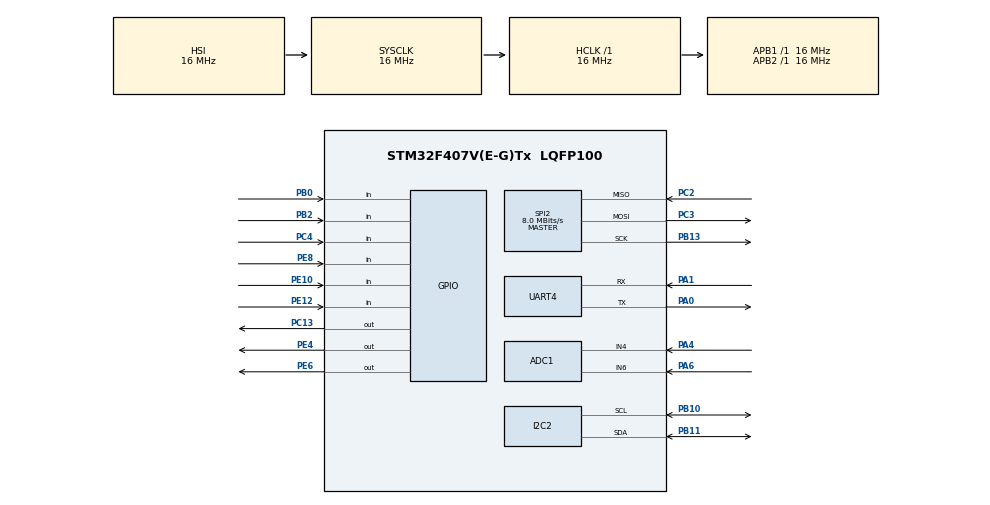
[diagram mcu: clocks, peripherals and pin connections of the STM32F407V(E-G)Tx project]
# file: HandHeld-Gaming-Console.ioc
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ADC1.Channel-0\#ChannelRegularConversion=ADC_CHANNEL_4
ADC1.NbrOfConversionFlag=1
ADC1.Rank-0\#ChannelRegularConversion=1
ADC1.SamplingTime-0\#ChannelRegularConversion=ADC_SAMPLETIME_3CYCLES
ADC1.master=1
Mcu.Family=STM32F4
Mcu.Name=STM32F407V(E-G)Tx
Mcu.Package=LQFP100
NVIC.PriorityGroup=NVIC_PRIORITYGROUP_4
PA0-WKUP.Mode=Asynchronous
PA0-WKUP.Signal=UART4_TX
PA1.Mode=Asynchronous
PA1.Signal=UART4_RX
PA4.Signal=ADCx_IN4
PA6.Signal=ADCx_IN6
PB0.Signal=GPIO_Input
PB10.Mode=I2C
PB10.Signal=I2C2_SCL
PB11.Mode=I2C
PB11.Signal=I2C2_SDA
PB13.Mode=Full_Duplex_Master
PB13.Signal=SPI2_SCK
PB2.Signal=GPIO_Input
PC13-ANTI_TAMP.Signal=GPIO_Output
PC2.Mode=Full_Duplex_Master
PC2.Signal=SPI2_MISO
PC3.Mode=Full_Duplex_Master
PC3.Signal=SPI2_MOSI
PC4.Signal=GPIO_Input
PE10.Signal=GPIO_Input
PE12.Signal=GPIO_Input
PE4.Signal=GPIO_Output
PE6.Signal=GPIO_Output
PE8.Signal=GPIO_Input
PH0-OSC_IN.Mode=HSE-External-Oscillator
PH0-OSC_IN.Signal=RCC_OSC_IN
PH1-OSC_OUT.Mode=HSE-External-Oscillator
PH1-OSC_OUT.Signal=RCC_OSC_OUT
ProjectManager.HeapSize=0x200
ProjectManager.StackSize=0x400
ProjectManager.TargetToolchain=STM32CubeIDE
RCC.AHBFreq_Value=16000000
RCC.APB1Freq_Value=16000000
RCC.APB2Freq_Value=16000000
RCC.CortexFreq_Value=16000000
RCC.HSE_VALUE=25000000
RCC.HSI_VALUE=16000000
RCC.LSE_VALUE=32768
RCC.SYSCLKFreq_VALUE=16000000
RCC.VCOOutputFreq_Value=192000000
SH.ADCx_IN4.0=ADC1_IN4,IN4
SH.ADCx_IN6.0=ADC1_IN6,IN6
SPI2.CalculateBaudRate=8.0 MBits/s
SPI2.Direction=SPI_DIRECTION_2LINES
SPI2.Mode=SPI_MODE_MASTER
SPI2.VirtualType=VM_MASTER
UART4.VirtualMode=Asynchronous
board=custom

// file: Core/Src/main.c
/* USER CODE BEGIN Header */
/**
  ******************************************************************************
  * @file           : main.c
  * @brief          : Main program body
  ******************************************************************************
  * @attention
  *
  * Copyright (c) 2025 STMicroelectronics.
  * All rights reserved.
  *
  * This software is licensed under terms that can be found in the LICENSE file
  * in the root directory of this software component.
  * If no LICENSE file comes with this software, it is provided AS-IS.
  *
  ******************************************************************************
  */
/* USER CODE END Header */
#include "main.h"
#include <stdbool.h>
#include <string.h>
#include "snake.h"
#include "pingpong.h"
#include "ili9341.h"
#include "fonts.h"
#include "testimg.h"
#include "mpu6050.h"

/* USER CODE BEGIN PD */
#define STATE_INTRO 0
#define STATE_MENU 1
#define STATE_GAME_SNAKE 2
#define STATE_GAME_PONG 3
#define STATE_GAME_OVER 4
#define MPU_ACCEL_X_UP_THRESHOLD 2500
#define MPU_ACCEL_X_DOWN_THRESHOLD 1500
#define MPU_ACCEL_Y_LEFT_THRESHOLD 1500
#define MPU_ACCEL_Y_RIGHT_THRESHOLD 2500
#define MPU_LED_PORT GPIOE
#define MPU_LED_PIN GPIO_PIN_2
#define JOYSTICK_X_ADC_CHANNEL ADC_CHANNEL_4
#define JOYSTICK_Y_ADC_CHANNEL ADC_CHANNEL_6
#define JOYSTICK_BUTTON_PORT GPIOC
#define JOYSTICK_BUTTON_PIN GPIO_PIN_4
#define RESET_BUTTON_PORT GPIOB
#define RESET_BUTTON_PIN GPIO_PIN_0
#define JOYSTICK_THRESHOLD 3500

/* USER CODE END PD */
volatile int currentState = STATE_INTRO;
volatile int menuSelection = 0; // 0 for Snake, 1 for Ping Pong
volatile bool isMpuControl = false;
uint32_t lastButtonPressTime = 0;
const uint32_t buttonDebounceDelay = 200;
volatile int mpu_x, mpu_y, mpu_z;
volatile bool first_snake_dir = true;

ADC_HandleTypeDef hadc1;

I2C_HandleTypeDef hi2c2;

SPI_HandleTypeDef hspi2;

UART_HandleTypeDef huart4;

void SystemClock_Config(void);
static void MX_GPIO_Init(void);
static void MX_ADC1_Init(void);
static void MX_I2C2_Init(void);
static void MX_SPI2_Init(void);
static void MX_UART4_Init(void);
/* USER CODE BEGIN PFP */
uint16_t getADC(uint32_t channel);
bool isButtonHeld(GPIO_TypeDef *port, uint16_t pin);
void handleInput(void);
void drawIntroScreen(void);
void drawMenuScreen(void);
void drawGameOverScreen(void);
void runSnakeGame(void);
void runPingPongGame(void);

/* USER CODE END PFP */

int main(void)
{

  /* MCU Configuration--------------------------------------------------------*/

  /* Reset of all peripherals, Initializes the Flash interface and the Systick. */
  HAL_Init();

  /* Configure the system clock */
  SystemClock_Config();

  /* Initialize all configured peripherals */
  MX_GPIO_Init();
  MX_ADC1_Init();
  MX_I2C2_Init();
  MX_SPI2_Init();
  MX_UART4_Init();
  /* USER CODE BEGIN 2 */
  ILI9341_Init();
  MPU6050_Init();
  drawIntroScreen();

  /* USER CODE END 2 */

  /* Infinite loop */
  /* USER CODE BEGIN WHILE */
  while (1)
  {
	  handleInput();
    /* USER CODE END WHILE */
	  switch (currentState) {
	              case STATE_MENU:
	                  drawMenuScreen();
	                  HAL_Delay(500);
	                  break;
	              case STATE_GAME_SNAKE:
	                  runSnakeGame();
	                  break;
	              case STATE_GAME_PONG:
	                  runPingPongGame();
	                  break;
	              case STATE_GAME_OVER:
	                  drawGameOverScreen();
	                  break;
	              default:
	                  break;
	          }

  }
}
void drawIntroScreen(void) {
    ILI9341_FillScreen(ILI9341_BLACK);
    ILI9341_DrawImage(128, 40, 64, 64, intro);
    char temp_msg[] = "HANDHELD-CONSOLE";
    ILI9341_WriteString(32, 204,temp_msg, Font_16x26, ILI9341_WHITE, ILI9341_BLACK);
    HAL_Delay(2000);
    currentState = STATE_MENU;
}
void drawMenuScreen(void) {
    ILI9341_FillRectangle(30,40,260,200,ILI9341_BLACK);
    char temp_msg[] = "SELECT GAME";
    ILI9341_WriteString(72, 10, temp_msg, Font_16x26, ILI9341_WHITE, ILI9341_BLACK);

    if (menuSelection == 0) {
        ILI9341_DrawImage(80, 56, 160, 40, menu1_2); // Highlighted Snake
        ILI9341_DrawImage(80, 116, 160, 40, menu2_1); // Unhighlighted Pong
    } else {
        ILI9341_DrawImage(80, 56, 160, 40, menu1_1); // Unhighlighted Snake
        ILI9341_DrawImage(80, 116, 160, 40, menu2_2); // Highlighted Pong
    }
}
void drawGameOverScreen(void) {
    ILI9341_FillScreen(ILI9341_BLACK);
    char temp_msg1[] = "Game Over";
    char temp_msg2[] = "Press Retry";
    ILI9341_WriteString(ILI9341_WIDTH / 2 - 50, ILI9341_HEIGHT / 2, temp_msg1, Font_16x26, ILI9341_RED, ILI9341_BLACK);
    ILI9341_WriteString(ILI9341_WIDTH / 2 - 80, ILI9341_HEIGHT / 2 + 30, temp_msg2, Font_7x10, ILI9341_WHITE, ILI9341_BLACK);
    if (HAL_GPIO_ReadPin(GPIOB,GPIO_PIN_0)==GPIO_PIN_RESET){
    	currentState = STATE_MENU;
    }
}
void handleInput(void) {
    //bool selectButtonPressed = (HAL_GPIO_ReadPin(JOYSTICK_BUTTON_PORT, JOYSTICK_BUTTON_PIN) == GPIO_PIN_SET);

    if ((HAL_GPIO_ReadPin(GPIOC , GPIO_PIN_4)==GPIO_PIN_RESET) ) {
        if (currentState == STATE_MENU) {
            if (menuSelection == 0) {
            	 ILI9341_FillScreen(ILI9341_BLACK);
                 ILI9341_DrawImage(40,0,240,240,snake_intro);
                 ILI9341_FillScreen(ILI9341_BLACK);
                 ILI9341_DrawImage(0,0,320,35,bg_final_top);
                 ILI9341_DrawImage(0,205,320,35,bg_final_bottom);
                 ILI9341_DrawImage(0,35,47,170,bg_final_left);
                 ILI9341_DrawImage(274,35,46,170,bg_final_right);
                currentState = STATE_GAME_SNAKE;
                SNAKE_Init();
            } else if (menuSelection == 1) {
                currentState = STATE_GAME_PONG;
                ILI9341_FillScreen(ILI9341_BLACK);
                PingPong_Init();
            }
        } else if (currentState == STATE_GAME_OVER) {
            currentState = STATE_MENU;
            drawMenuScreen();
        } else {
            isMpuControl = !isMpuControl;
            if (isMpuControl) {
                HAL_GPIO_WritePin(MPU_LED_PORT, MPU_LED_PIN, GPIO_PIN_SET);
            } else {
                HAL_GPIO_WritePin(MPU_LED_PORT, MPU_LED_PIN, GPIO_PIN_RESET);
            }
        }
    }

    if (currentState == STATE_MENU) {
        uint16_t xVal = getADC(JOYSTICK_X_ADC_CHANNEL);
        if (xVal < 4095 - JOYSTICK_THRESHOLD) { // Joystick UP
            menuSelection = 0;
        } else if (xVal > JOYSTICK_THRESHOLD) { // Joystick DOWN
            menuSelection = 1;
        }
    }
}
bool isButtonHeld(GPIO_TypeDef *port, uint16_t pin) {
    return (HAL_GPIO_ReadPin(port, pin) == GPIO_PIN_RESET);
}
void runSnakeGame(void) {
    if (SNAKE_getOver()) {
    	ILI9341_FillScreen(ILI9341_BLACK);
    	ILI9341_DrawImage(40, 0, 240, 240, snake_outro);
    	HAL_Delay(500);
        if(isButtonHeld(JOYSTICK_BUTTON_PORT,JOYSTICK_BUTTON_PIN)) currentState = STATE_MENU;
        return;
    }

    int direction ;
    if (first_snake_dir){
    	direction = 1;
    	first_snake_dir = false;
    }
    if (isMpuControl) {
        MPU6050_Read_Accel(&mpu_x, &mpu_y, &mpu_z);
        if (mpu_x > MPU_ACCEL_X_UP_THRESHOLD) direction = 2; // down
        if (mpu_x < MPU_ACCEL_X_DOWN_THRESHOLD) direction = 4; // up
        if (mpu_y > MPU_ACCEL_Y_RIGHT_THRESHOLD) direction = 3; // left
        if (mpu_y < MPU_ACCEL_Y_LEFT_THRESHOLD) direction = 1; // right
    } else {
        uint16_t xVal = getADC(JOYSTICK_X_ADC_CHANNEL);
        uint16_t yVal = getADC(JOYSTICK_Y_ADC_CHANNEL);

        if (xVal > JOYSTICK_THRESHOLD) direction = 2;
        if (xVal < 4095 - JOYSTICK_THRESHOLD) direction = 4;
        if (yVal > JOYSTICK_THRESHOLD) direction = 3;
        if (yVal < 4095 - JOYSTICK_THRESHOLD) direction = 1;
    }

    if (direction != 0) {
        SNAKE_ChangeDirection(direction);
    }

    SNAKE_updateGame();
    SNAKE_drawGame();
    HAL_Delay(100);
}
void runPingPongGame(void) {
    if (PingPong_IsGameOver()) {
        currentState = STATE_GAME_OVER;
        return;
    }

    bool upPressed = false;
    bool downPressed = false;

    if (isMpuControl) {
        MPU6050_Read_Accel(&mpu_x, &mpu_y, &mpu_z);
        if (mpu_x > MPU_ACCEL_X_UP_THRESHOLD) downPressed = true;
        if (mpu_x < MPU_ACCEL_X_DOWN_THRESHOLD) upPressed = true;
    } else {
        uint16_t xVal = getADC(JOYSTICK_X_ADC_CHANNEL);
        if (xVal > JOYSTICK_THRESHOLD) downPressed = true;
        if (xVal < 4095 - JOYSTICK_THRESHOLD) upPressed = true;
    }

    PingPong_Update(upPressed, downPressed);
    PingPong_Draw();
    HAL_Delay(20);
}

uint16_t getADC(uint32_t channel){
    ADC_ChannelConfTypeDef adc_confg = {0};
    adc_confg.Channel = channel;
    adc_confg.Rank = 1;
    adc_confg.SamplingTime = ADC_SAMPLETIME_56CYCLES;
    HAL_ADC_ConfigChannel(&hadc1,&adc_confg);
    HAL_ADC_Start(&hadc1);
    HAL_ADC_PollForConversion(&hadc1 , HAL_MAX_DELAY);
    uint16_t val = HAL_ADC_GetValue(&hadc1);
    HAL_ADC_Stop(&hadc1);
    return val;
}

void SystemClock_Config(void)
{
  RCC_OscInitTypeDef RCC_OscInitStruct = {0};
  RCC_ClkInitTypeDef RCC_ClkInitStruct = {0};

  /** Configure the main internal regulator output voltage
  */
  __HAL_RCC_PWR_CLK_ENABLE();
  __HAL_PWR_VOLTAGESCALING_CONFIG(PWR_REGULATOR_VOLTAGE_SCALE1);

  /** Initializes the RCC Oscillators according to the specified parameters
  * in the RCC_OscInitTypeDef structure.
  */
  RCC_OscInitStruct.OscillatorType = RCC_OSCILLATORTYPE_HSI;
  RCC_OscInitStruct.HSIState = RCC_HSI_ON;
  RCC_OscInitStruct.HSICalibrationValue = RCC_HSICALIBRATION_DEFAULT;
  RCC_OscInitStruct.PLL.PLLState = RCC_PLL_NONE;
  if (HAL_RCC_OscConfig(&RCC_OscInitStruct) != HAL_OK)
  {
    Error_Handler();
  }

  /** Initializes the CPU, AHB and APB buses clocks
  */
  RCC_ClkInitStruct.ClockType = RCC_CLOCKTYPE_HCLK|RCC_CLOCKTYPE_SYSCLK
                              |RCC_CLOCKTYPE_PCLK1|RCC_CLOCKTYPE_PCLK2;
  RCC_ClkInitStruct.SYSCLKSource = RCC_SYSCLKSOURCE_HSI;
  RCC_ClkInitStruct.AHBCLKDivider = RCC_SYSCLK_DIV1;
  RCC_ClkInitStruct.APB1CLKDivider = RCC_HCLK_DIV1;
  RCC_ClkInitStruct.APB2CLKDivider = RCC_HCLK_DIV1;

  if (HAL_RCC_ClockConfig(&RCC_ClkInitStruct, FLASH_LATENCY_0) != HAL_OK)
  {
    Error_Handler();
  }
}

static void MX_ADC1_Init(void)
{

  ADC_ChannelConfTypeDef sConfig = {0};

  /** Configure the global features of the ADC (Clock, Resolution, Data Alignment and number of conversion)
  */
  hadc1.Instance = ADC1;
  hadc1.Init.ClockPrescaler = ADC_CLOCK_SYNC_PCLK_DIV2;
  hadc1.Init.Resolution = ADC_RESOLUTION_12B;
  hadc1.Init.ScanConvMode = DISABLE;
  hadc1.Init.ContinuousConvMode = DISABLE;
  hadc1.Init.DiscontinuousConvMode = DISABLE;
  hadc1.Init.ExternalTrigConvEdge = ADC_EXTERNALTRIGCONVEDGE_NONE;
  hadc1.Init.ExternalTrigConv = ADC_SOFTWARE_START;
  hadc1.Init.DataAlign = ADC_DATAALIGN_RIGHT;
  hadc1.Init.NbrOfConversion = 1;
  hadc1.Init.DMAContinuousRequests = DISABLE;
  hadc1.Init.EOCSelection = ADC_EOC_SINGLE_CONV;
  if (HAL_ADC_Init(&hadc1) != HAL_OK)
  {
    Error_Handler();
  }

  /** Configure for the selected ADC regular channel its corresponding rank in the sequencer and its sample time.
  */
  sConfig.Channel = ADC_CHANNEL_4;
  sConfig.Rank = 1;
  sConfig.SamplingTime = ADC_SAMPLETIME_3CYCLES;
  if (HAL_ADC_ConfigChannel(&hadc1, &sConfig) != HAL_OK)
  {
    Error_Handler();
  }

}

static void MX_I2C2_Init(void)
{

  hi2c2.Instance = I2C2;
  hi2c2.Init.ClockSpeed = 100000;
  hi2c2.Init.DutyCycle = I2C_DUTYCYCLE_2;
  hi2c2.Init.OwnAddress1 = 0;
  hi2c2.Init.AddressingMode = I2C_ADDRESSINGMODE_7BIT;
  hi2c2.Init.DualAddressMode = I2C_DUALADDRESS_DISABLE;
  hi2c2.Init.OwnAddress2 = 0;
  hi2c2.Init.GeneralCallMode = I2C_GENERALCALL_DISABLE;
  hi2c2.Init.NoStretchMode = I2C_NOSTRETCH_DISABLE;
  if (HAL_I2C_Init(&hi2c2) != HAL_OK)
  {
    Error_Handler();
  }

}

static void MX_SPI2_Init(void)
{

  /* SPI2 parameter configuration*/
  hspi2.Instance = SPI2;
  hspi2.Init.Mode = SPI_MODE_MASTER;
  hspi2.Init.Direction = SPI_DIRECTION_2LINES;
  hspi2.Init.DataSize = SPI_DATASIZE_8BIT;
  hspi2.Init.CLKPolarity = SPI_POLARITY_LOW;
  hspi2.Init.CLKPhase = SPI_PHASE_1EDGE;
  hspi2.Init.NSS = SPI_NSS_SOFT;
  hspi2.Init.BaudRatePrescaler = SPI_BAUDRATEPRESCALER_2;
  hspi2.Init.FirstBit = SPI_FIRSTBIT_MSB;
  hspi2.Init.TIMode = SPI_TIMODE_DISABLE;
  hspi2.Init.CRCCalculation = SPI_CRCCALCULATION_DISABLE;
  hspi2.Init.CRCPolynomial = 10;
  if (HAL_SPI_Init(&hspi2) != HAL_OK)
  {
    Error_Handler();
  }

}

static void MX_UART4_Init(void)
{

  huart4.Instance = UART4;
  huart4.Init.BaudRate = 115200;
  huart4.Init.WordLength = UART_WORDLENGTH_8B;
  huart4.Init.StopBits = UART_STOPBITS_1;
  huart4.Init.Parity = UART_PARITY_NONE;
  huart4.Init.Mode = UART_MODE_TX_RX;
  huart4.Init.HwFlowCtl = UART_HWCONTROL_NONE;
  huart4.Init.OverSampling = UART_OVERSAMPLING_16;
  if (HAL_UART_Init(&huart4) != HAL_OK)
  {
    Error_Handler();
  }

}

static void MX_GPIO_Init(void)
{
  GPIO_InitTypeDef GPIO_InitStruct = {0};

  /* GPIO Ports Clock Enable */
  __HAL_RCC_GPIOE_CLK_ENABLE();
  __HAL_RCC_GPIOC_CLK_ENABLE();
  __HAL_RCC_GPIOH_CLK_ENABLE();
  __HAL_RCC_GPIOA_CLK_ENABLE();
  __HAL_RCC_GPIOB_CLK_ENABLE();

  /*Configure GPIO pin Output Level */
  HAL_GPIO_WritePin(GPIOE, GPIO_PIN_4|GPIO_PIN_6, GPIO_PIN_RESET);

  /*Configure GPIO pin Output Level */
  HAL_GPIO_WritePin(GPIOC, GPIO_PIN_13, GPIO_PIN_RESET);

  /*Configure GPIO pins : PE4 PE6 */
  GPIO_InitStruct.Pin = GPIO_PIN_4|GPIO_PIN_6;
  GPIO_InitStruct.Mode = GPIO_MODE_OUTPUT_PP;
  GPIO_InitStruct.Pull = GPIO_NOPULL;
  GPIO_InitStruct.Speed = GPIO_SPEED_FREQ_LOW;
  HAL_GPIO_Init(GPIOE, &GPIO_InitStruct);

  /*Configure GPIO pin : PC13 */
  GPIO_InitStruct.Pin = GPIO_PIN_13;
  GPIO_InitStruct.Mode = GPIO_MODE_OUTPUT_PP;
  GPIO_InitStruct.Pull = GPIO_NOPULL;
  GPIO_InitStruct.Speed = GPIO_SPEED_FREQ_LOW;
  HAL_GPIO_Init(GPIOC, &GPIO_InitStruct);

  /*Configure GPIO pin : PC4 */
  GPIO_InitStruct.Pin = GPIO_PIN_4;
  GPIO_InitStruct.Mode = GPIO_MODE_INPUT;
  GPIO_InitStruct.Pull = GPIO_NOPULL;
  HAL_GPIO_Init(GPIOC, &GPIO_InitStruct);

  /*Configure GPIO pins : PB0 PB2 */
  GPIO_InitStruct.Pin = GPIO_PIN_0|GPIO_PIN_2;
  GPIO_InitStruct.Mode = GPIO_MODE_INPUT;
  GPIO_InitStruct.Pull = GPIO_NOPULL;
  HAL_GPIO_Init(GPIOB, &GPIO_InitStruct);

  /*Configure GPIO pins : PE8 PE10 PE12 */
  GPIO_InitStruct.Pin = GPIO_PIN_8|GPIO_PIN_10|GPIO_PIN_12;
  GPIO_InitStruct.Mode = GPIO_MODE_INPUT;
  GPIO_InitStruct.Pull = GPIO_NOPULL;
  HAL_GPIO_Init(GPIOE, &GPIO_InitStruct);

}

void Error_Handler(void)
{
  __disable_irq();
  while (1)
  {
  }
}
